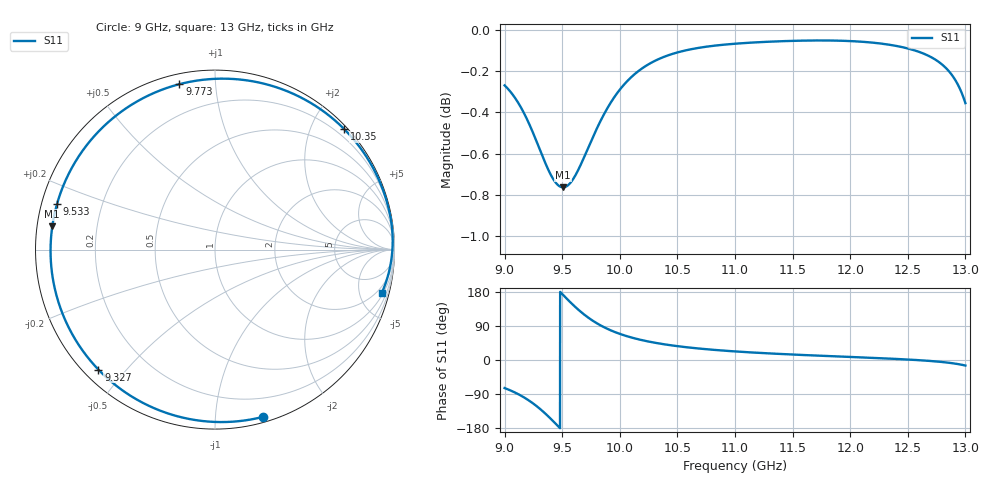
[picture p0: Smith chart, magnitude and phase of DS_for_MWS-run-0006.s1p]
! TOUCHSTONE file generated by CST DESIGN STUDIO
! Date and time: Tue Feb  4 12:57:25 2025
! Project name: C:\Work\MatlabApps\UnitCellOptimizationMatlab\CST\unitcell.cst
! Tree item: Tasks\Sweep1\SPara1\S-Parameters
! Header version: 2024
! Port assignment regex: !\s*Touchstone port\s*([0-9]+)\s*=\s*(CST MWS port|CST DES external port|CST DES block port)\s*(.+)\s* \(\"(.*)\"\)(\s*mode\s*([0-9]+))?.*
! Touchstone port assignment:
! Touchstone port 1 = CST DES external port 1 ("")
# GHz S MA R 50
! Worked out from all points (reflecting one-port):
!   4001 points, 9 GHz to 13 GHz, reference 50 ohm
!   lowest |S11| = -0.8 dB at 9.507 GHz (marker M1), VSWR 22.75, Z = 2.21 + j3.54 ohm
!   phase of S11 starts at -74 deg and turns -301 deg over the sweep
!   S11 on the Smith chart (normalised r, x): 9 GHz: 0.04, -1.33; 9.327 GHz: 0.04, -0.42; 9.533 GHz: 0.04, +0.14; 9.773 GHz: 0.05, +0.81; 10.35 GHz: 0.06, +2.53; 13 GHz: 1.22, -7.58
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9  0.9696 -74.0
9.087  0.9631 -85.4
9.189  0.9521 -102.5
9.261  0.9421 -117.7
9.327  0.9322 -134.2
9.372  0.9258 -146.7
9.42  0.9202 -160.9
9.46  0.9171 -173.3
9.5  0.9158 174.1
9.507  0.9158 171.9
9.533  0.9162 163.8
9.595  0.92 145.2
9.652  0.9263 129.6
9.71  0.9341 115.4
9.773  0.9428 102.1
9.826  0.9496 92.5
9.886  0.9566 83.1
10  0.9672 68.9
10.159  0.9772 54.8
10.352  0.9843 43.1
10.5  0.9876 36.6
10.721  0.9905 29.3
11  0.9924 22.7
11.5  0.994 14.4
12  0.9939 8.1
12.5  0.9898 1.2
12.797  0.981 -5.3
13  0.96 -14.7
